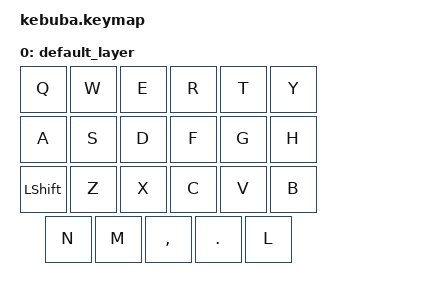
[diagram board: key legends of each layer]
#include <behaviors.dtsi>
#include <dt-bindings/zmk/keys.h>
#include <dt-bindings/zmk/bt.h>
#include <dt-bindings/zmk/outputs.h>


/ {
  keymap {
    compatible = "zmk,keymap";

    default_layer {
      bindings = <
        &kp Q &kp W &kp E &kp R &kp T &kp Y  
        &kp A &kp S &kp D &kp F &kp G  &kp H  
        &kp LSHFT &kp Z &kp X &kp C &kp V &kp B  
         &kp N &kp M  &kp COMMA &kp DOT &kp L     
             
      >;
    };
  };
};

